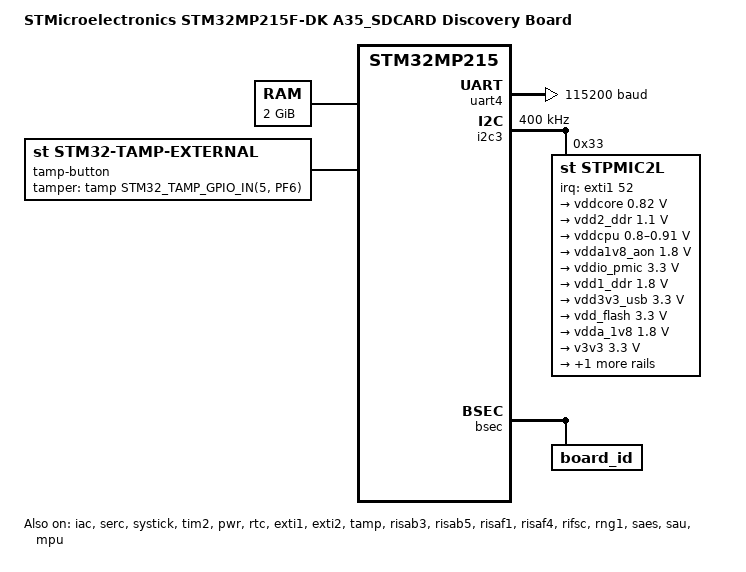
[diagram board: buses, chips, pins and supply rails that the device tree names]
/*
 * Copyright (c) 2026, STMicroelectronics - All Rights Reserved
 *
 * SPDX-License-Identifier: Apache-2.0
 */

/dts-v1/;

#include <dt-bindings/clock/stm32mp21-clksrc.h>
#include <dt-bindings/power/stm32mp25-power.h>
#include <dt-bindings/regulator/stm32mp21-regulator.h>
#include <dt-bindings/regulator/st,stpmic2.h>
#include <dt-bindings/reset/st,stm32mp21-rcc.h>
#include <dt-bindings/rif/stm32mp25-rif.h>
#include <dt-bindings/rif/stm32mp2-rifsc.h>
#include <dt-bindings/rif/stm32mp21-rifsc.h>
#include <dt-bindings/rif/stm32mp2-risaf.h>
#include <dt-bindings/rif/stm32mp25-risab.h>
#include <dt-bindings/tamp/st,stm32mp21-tamp.h>
#include <dt-bindings/gpio/st,stm32mp21-tamp-gpio.h>
#include <dt-bindings/memory-attr/memory-attr-arm.h>

#include "stm32mp215.dtsi"
#include "stm32mp21xf.dtsi"
#include "stm32mp215f-dk-cm33tdcid-resmem.dtsi"
#include "stm32mp215f-dk-cm33tdcid-rcc.dtsi"
#include "stm32mp215f-dk-cm33tdcid-s-rif.dtsi"
#include "stm32mp21-pinctrl.dtsi"
#include "stm32mp21xxan-pinctrl.dtsi"

/ {
	model = "STMicroelectronics STM32MP215F-DK A35_SDCARD Discovery Board";
	compatible = "st,stm32mp215f-dk-cm33tdcid-sdcard", "st,stm32mp215f-dk", "st,stm32mp215";
	aliases {
		serial0 = &uart4;
	};

	chosen {
		stdout-device = &uart4;
		tfm,entropy = &rng1;
		tfm,watchdog = &iwdg3;
	};

	memory@80000000 {
		device_type = "memory";
		reg = <0x80000000 0x80000000>;
	};
};

&iac {
	status = "okay";
};

&serc {
	status = "okay";
};

&uart4 {
	pinctrl-names = "default", "sleep";
	pinctrl-0 = <&uart4_pins_a>;
	pinctrl-1 = <&uart4_sleep_pins_a>;
	clocks = <&rcc CK_KER_UART4>;
	current-speed = <115200>;
	status = "okay";
};

&systick {
	clocks = <&rcc CK_ICN_HS_MCU>;
	clock-frequency = <1000000>; /* tick at 1us */
	status = "okay";
};

&tim2 {
	status = "okay";
};

&i2c3 {
	pinctrl-names = "default", "sleep";
	pinctrl-0 = <&i2c3_pins_a>;
	pinctrl-1 = <&i2c3_sleep_pins_a>;
	i2c-scl-rising-time-ns = <31>;
	i2c-scl-falling-time-ns = <2>;
	clock-frequency = <400000>;
	status = "okay";

	#address-cells = <1>;
	#size-cells = <0>;

	stpmic2l: pmic@33 {
		compatible = "st,stpmic2l";
		reg = <0x33>;
		interrupts-extended = <&exti1 52 IRQ_TYPE_EDGE_FALLING>;
		interrupt-controller;
		#interrupt-cells = <1>;
		status = "okay";

		regulators {
			compatible = "st,stpmic2-regulators";

			vddcore: buck1 {
				regulator-name = "vddcore";
				regulator-min-microvolt = <820000>;
				regulator-max-microvolt = <820000>;
				regulator-always-on;
				st,pwrctrl-sel = <1>;
				st,pwrctrl-enable;

				default {
					regulator-on-in-suspend;
					regulator-suspend-microvolt = <820000>;
				};
				lplv {
					regulator-on-in-suspend;
					regulator-suspend-microvolt = <670000>;
				};
				standby {
					regulator-off-in-suspend;
				};
				off {
					regulator-off-in-suspend;
				};
			};
			vdd2_ddr: buck2 {
				regulator-name = "vdd2_ddr";
				regulator-min-microvolt = <1100000>;
				regulator-max-microvolt = <1100000>;
				regulator-always-on;
				st,pwrctrl-sel = <1>;
				st,pwrctrl-enable;

				default {
					regulator-on-in-suspend;
					regulator-suspend-microvolt = <1100000>;
				};
				lplv {
					regulator-on-in-suspend;
					regulator-suspend-microvolt = <1100000>;
				};
				standby {
					regulator-on-in-suspend;
					regulator-suspend-microvolt = <1100000>;
				};
				off {
					regulator-off-in-suspend;
				};
			};
			vddcpu: buck3 {
				regulator-name = "vddcpu";
				regulator-min-microvolt = <800000>;
				regulator-max-microvolt = <910000>;
				regulator-always-on;
				st,pwrctrl-sel = <2>;
				st,pwrctrl-enable;

				default {
					regulator-off-in-suspend;
				};
				lplv {
					regulator-off-in-suspend;
				};
				standby {
					regulator-off-in-suspend;
				};
				off {
					regulator-off-in-suspend;
				};
			};
			vdda1v8_aon: ldo1 {
				regulator-name = "vdda1v8_aon";
				regulator-min-microvolt = <1800000>;
				regulator-max-microvolt = <1800000>;
				regulator-always-on;
				st,mask-reset;
			};
			vddio_pmic: ldo2 {
				regulator-name = "vddio_pmic";
				regulator-min-microvolt = <3300000>;
				regulator-max-microvolt = <3300000>;
				regulator-always-on;
				st,mask-reset;
			};
			vdd1_ddr: ldo3 {
				regulator-name = "vdd1_ddr";
				regulator-min-microvolt = <1800000>;
				regulator-max-microvolt = <1800000>;
				regulator-always-on;
				st,pwrctrl-sel = <1>;
				st,pwrctrl-enable;

				default {
					regulator-on-in-suspend;
					regulator-suspend-microvolt = <1800000>;
				};
				lplv {
					regulator-on-in-suspend;
					regulator-suspend-microvolt = <1800000>;
				};
				standby {
					regulator-on-in-suspend;
					regulator-suspend-microvolt = <1800000>;
				};
				off {
					regulator-off-in-suspend;
				};
			};
			vdd3v3_usb: ldo4 {
				regulator-name = "vdd3v3_usb";
				regulator-min-microvolt = <3300000>;
				regulator-max-microvolt = <3300000>;
				regulator-over-current-protection;

				standby {
					regulator-off-in-suspend;
				};
				off {
					regulator-off-in-suspend;
				};
			};
			vdd_flash: ldo5 {
				regulator-name = "vdd_flash";
				regulator-min-microvolt = <3300000>;
				regulator-max-microvolt = <3300000>;
				regulator-over-current-protection;
				st,pwrctrl-sel = <3>;
				st,pwrctrl-reset;
			};
			vdda_1v8: ldo6 {
				regulator-name = "vdda_1v8";
				regulator-min-microvolt = <1800000>;
				regulator-max-microvolt = <1800000>;
				regulator-always-on;
				st,pwrctrl-sel = <1>;
				st,pwrctrl-enable;

				default {
					regulator-on-in-suspend;
					regulator-suspend-microvolt = <1800000>;
				};
				lplv {
					regulator-on-in-suspend;
					regulator-suspend-microvolt = <1800000>;
				};
				standby {
					regulator-off-in-suspend;
				};
				off {
					regulator-off-in-suspend;
				};
			};
			v3v3: gpo1 {
				regulator-name = "v3v3";
				regulator-min-microvolt = <3300000>;
				regulator-max-microvolt = <3300000>;
				regulator-always-on;

				standby {
					regulator-off-in-suspend;
				};
				off {
					regulator-off-in-suspend;
				};
			};
			v_gpo3: gpo3 {
				regulator-name = "gpo3";
				regulator-min-microvolt = <3300000>;
				regulator-max-microvolt = <3300000>;
				regulator-always-on;
				st,pwrctrl-sel = <1>;
				st,pwrctrl-enable;

				default {
					regulator-on-in-suspend;
				};
				lplv {
					regulator-on-in-suspend;
				};
				standby {
					regulator-on-in-suspend;
				};
				off {
					regulator-off-in-suspend;
				};
			};
		};
	};
};

&bsec {
	memory-region = <&bsec_mirror>;
	status = "okay";

	board_id: board_id@3d8 {
		#nvmem-cell-cells = <0>;
		reg = <0x3d8 0x4>;
	};
};

&pwr {
	status = "okay";

	pwr_intc: interrupt-controller {
		status = "okay";
	};

	pwr_rif: access-controller {
		status = "okay";
	};

	regulators {
		status = "okay";

		vdda18adc: vdda18adc {
			status = "okay";
			regulator-min-microvolt = <1800000>;
			regulator-max-microvolt = <1800000>;
			vin-supply = <&vdda_1v8>;
		};

		vddio1: vddio1 {
			status = "okay";
			vin-supply = <&vddio_pmic>;
		};

		vddio2: vddio2 {
			status = "okay";
			vin-supply = <&vdda_1v8>;
		};

		vddio3: vddio3 {
			status = "okay";
			vin-supply = <&vddio_pmic>;
		};

		vddio: vddio {
			status = "okay";
			vin-supply = <&vddio_pmic>;
		};
	};
};

&ramcfg {
	status = "okay";
};

&rtc {
	status = "okay";
};

&hpdma1 {
	status = "okay";
};

&hpdma2 {
	status = "okay";
};

&hpdma3 {
	status = "okay";
};

&exti1 {
	status = "okay";
};

&exti2 {
	status = "okay";
};

&tamp {
	status = "okay";
	st,tamp-passive-precharge = <2>;
	st,tamp-passive-nb-sample = <4>;
	st,tamp-passive-sample-clk-div = <16384>;
	st,tamp-active-filter = <1>;
	st,tamp-active-clk-div = <2048>;

	tamp-button {
		compatible = "st,stm32-tamp-external";
		tamper-gpios = <&tamp STM32_TAMP_GPIO_IN(5, PF6) 0>;
		st,tamp-mode = <TAMPER_CONFIRMED_MODE>;
		st,tamp-id = <5>;
		status = "okay";
	};
};

&hconf1_otp {
	shadow-provisionning = <0x00018db6>;
};

&nvram {
	status = "okay";
};

&risab3 {
	status = "okay";
};

&risab5 {
	status = "okay";
};

&risaf1 {
	status = "okay";
};

&risaf4 {
	status = "okay";
};

&rifsc {
	status = "okay";
};

&rng1 {
	status = "okay";
};

&iwdg3 {
	/* If the watchdog is started the NS application must ping watchdog */
	/*status = "okay";*/
	timeout-sec = <120>;
};

&saes {
	status = "okay";
};

&sau {
	memory-region = <&peripheral_ns>, <&cm33_cube_fw>, <&cm33_cube_data>, <&ltdc_m33_layer>, <&fwu_shmem>;
	status = "okay";
};

&mpu {
	status = "okay";
};

&syscfg {
	st,reg-init = <STM32MP21_SYSCFG_ICNE2EBWRCR 0x00000051>,
		      <STM32MP21_SYSCFG_ICNCPU1BWLCR 0x00005002>;
};
